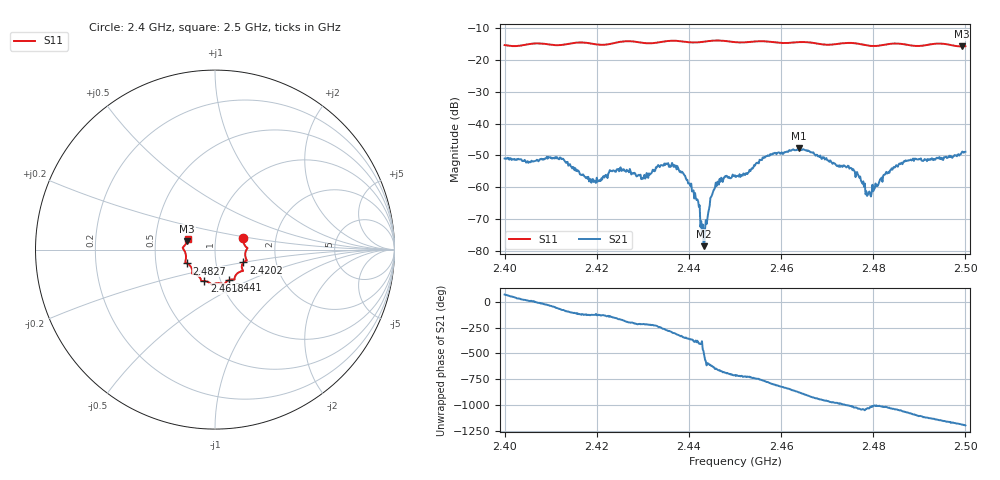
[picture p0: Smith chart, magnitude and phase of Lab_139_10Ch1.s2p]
# Hz S RI R 50
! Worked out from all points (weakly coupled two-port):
!   601 points, 2.4 GHz to 2.5 GHz, reference 50 ohm
!   highest |S21| = -47.68 dB at 2.4638 GHz (marker M1); lowest = -78.5 dB at 2.4433 GHz (marker M2)
!   lowest |S11| = -15.8 dB at 2.4992 GHz (marker M3), VSWR 1.39, Z = 36.4 + j3.63 ohm
!   |S11| at or under -10 dB: start of sweep to end of sweep
!   S12 and S22 are empty: the file has one direction only
!   S11 on the Smith chart (normalised r, x): 2.4 GHz: 1.36, +0.18; 2.4202 GHz: 1.36, -0.20; 2.441 GHz: 1.10, -0.39; 2.4618 GHz: 0.84, -0.30; 2.4827 GHz: 0.72, -0.12; 2.5 GHz: 0.73, +0.09
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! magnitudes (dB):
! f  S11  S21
! 2.4 GHz  -15.4  -51.0
! 2.4123 GHz  -15.3  -51.2
! 2.4167 GHz  -14.6  -56.1
! 2.4202 GHz  -15.2  -58.3
! 2.4248 GHz  -14.4  -55.0
! 2.4302 GHz  -14.7  -56.9
! 2.4333 GHz  -14.5  -53.0
! 2.4373 GHz  -14.0  -54.4
! 2.441 GHz  -14.6  -61.0
! 2.4433 GHz  -14.3  -78.5
! 2.4458 GHz  -13.9  -58.6
! 2.45 GHz  -14.4  -56.2
! 2.4618 GHz  -14.7  -48.3
! 2.4638 GHz  -14.4  -47.7
! 2.4667 GHz  -14.6  -49.0
! 2.4755 GHz  -14.7  -54.7
! 2.479 GHz  -15.5  -61.7
! 2.4827 GHz  -15.2  -55.7
! 2.4833 GHz  -15.0  -55.2
! 2.4872 GHz  -15.2  -51.8
! 2.4992 GHz  -15.8  -49.2
! 2.5 GHz  -15.7  -48.9
